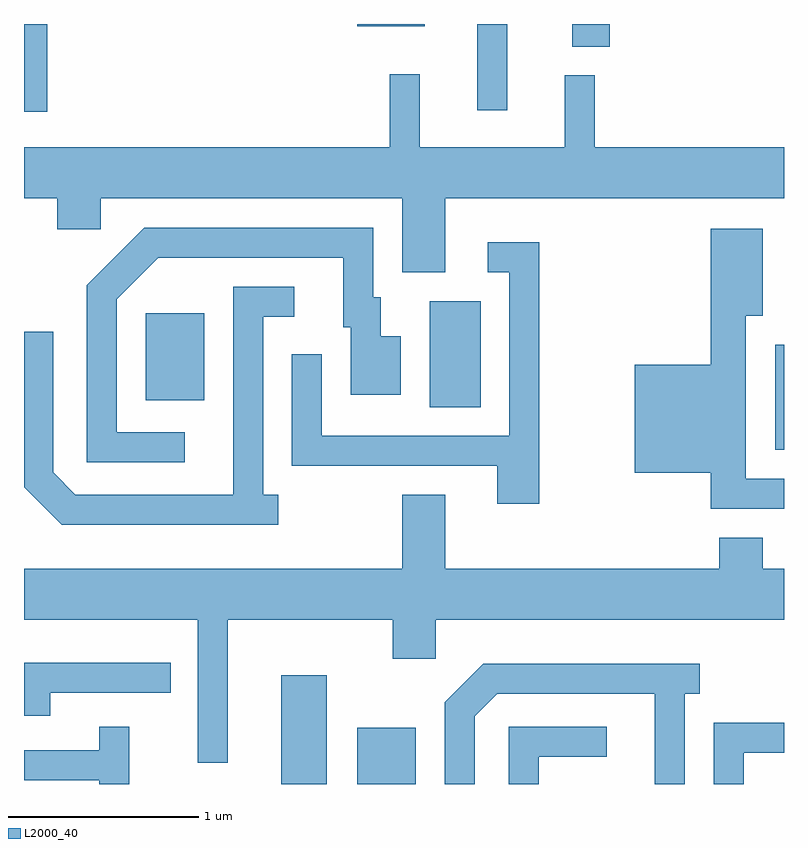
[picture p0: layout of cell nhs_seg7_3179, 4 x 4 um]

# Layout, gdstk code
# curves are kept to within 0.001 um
import gdstk
lib = gdstk.Library(unit=1e-6, precision=1e-09)
def R(c, l, rs):  # rectangles x0, y0, x1, y1
    for r in rs: c.add(gdstk.rectangle(r[:2], r[2:], *l))
def P(c, l, *ps):  # polygons
    for p in ps: c.add(gdstk.Polygon(p, *l))
L2000_40 = (2000, 40)

nhs_seg7_3179 = lib.new_cell('nhs_seg7_3179')
R(nhs_seg7_3179, L2000_40, [(282.966,1802.252,283.204,1802.824), (283.366,1802.252,283.674,1802.549), (285.566,1804.011,285.611,1804.564), (283.746,1804.236,284.014,1804.794), (282.251,1804.271,282.559,1804.729), (281.611,1805.791,281.734,1806.252), (283.996,1805.798,284.154,1806.252), (284.496,1806.131,284.694,1806.252), (283.366,1806.241,283.719,1806.252)])
P(nhs_seg7_3179, L2000_40, [(283.829,1805.336),(285.611,1805.336),(285.611,1805.604),(284.614,1805.604),(284.614,1805.983),(284.456,1805.983),(284.456,1805.604),(283.694,1805.604),(283.694,1805.988),(283.536,1805.988),(283.536,1805.604),(281.611,1805.604),(281.611,1805.336),(281.786,1805.336),(281.786,1805.171),(282.014,1805.171),(282.014,1805.336),(283.601,1805.336),(283.601,1804.946),(283.829,1804.946)],
  [(282.458,1804.104),(282.099,1804.104),(282.099,1804.804),(282.317,1805.021),(283.291,1805.021),(283.291,1804.656),(283.331,1804.656),(283.331,1804.301),(283.594,1804.301),(283.594,1804.609),(283.489,1804.609),(283.489,1804.814),(283.449,1804.814),(283.449,1805.179),(282.244,1805.179),(281.941,1804.877),(281.941,1803.946),(282.458,1803.946)],
  [(285.611,1803.859),(285.409,1803.859),(285.409,1804.716),(285.499,1804.716),(285.499,1805.174),(285.226,1805.174),(285.226,1804.459),(284.826,1804.459),(284.826,1803.891),(285.226,1803.891),(285.226,1803.701),(285.611,1803.701)],
  [(284.324,1805.104),(284.053,1805.104),(284.053,1804.946),(284.166,1804.946),(284.166,1804.084),(283.179,1804.084),(283.179,1804.513),(283.021,1804.513),(283.021,1803.926),(284.101,1803.926),(284.101,1803.726),(284.324,1803.726)],
  [(282.948,1803.774),(282.869,1803.774),(282.869,1804.711),(283.033,1804.711),(283.033,1804.869),(282.711,1804.869),(282.711,1803.774),(281.882,1803.774),(281.764,1803.892),(281.764,1804.633),(281.611,1804.633),(281.611,1803.814),(281.809,1803.616),(282.948,1803.616)],
  [(282.684,1803.116),(283.551,1803.116),(283.551,1802.911),(283.779,1802.911),(283.779,1803.116),(285.611,1803.116),(285.611,1803.384),(285.499,1803.384),(285.499,1803.549),(285.271,1803.549),(285.271,1803.384),(283.829,1803.384),(283.829,1803.774),(283.601,1803.774),(283.601,1803.384),(281.611,1803.384),(281.611,1803.116),(282.526,1803.116),(282.526,1802.363),(282.684,1802.363)],
  [(281.749,1802.731),(282.383,1802.731),(282.383,1802.889),(281.611,1802.889),(281.611,1802.611),(281.749,1802.611)],
  [(283.984,1802.609),(284.102,1802.726),(284.931,1802.726),(284.931,1802.252),(285.089,1802.252),(285.089,1802.726),(285.168,1802.726),(285.168,1802.884),(284.029,1802.884),(283.826,1802.682),(283.826,1802.252),(283.984,1802.252)],
  [(285.399,1802.416),(285.611,1802.416),(285.611,1802.574),(285.241,1802.574),(285.241,1802.252),(285.399,1802.252)],
  [(284.319,1802.396),(284.678,1802.396),(284.678,1802.554),(284.161,1802.554),(284.161,1802.252),(284.319,1802.252)],
  [(282.164,1802.553),(282.006,1802.553),(282.006,1802.429),(281.611,1802.429),(281.611,1802.271),(282.006,1802.271),(282.006,1802.252),(282.164,1802.252)])

lib.write_gds('nhs_seg7_3179.gds')
